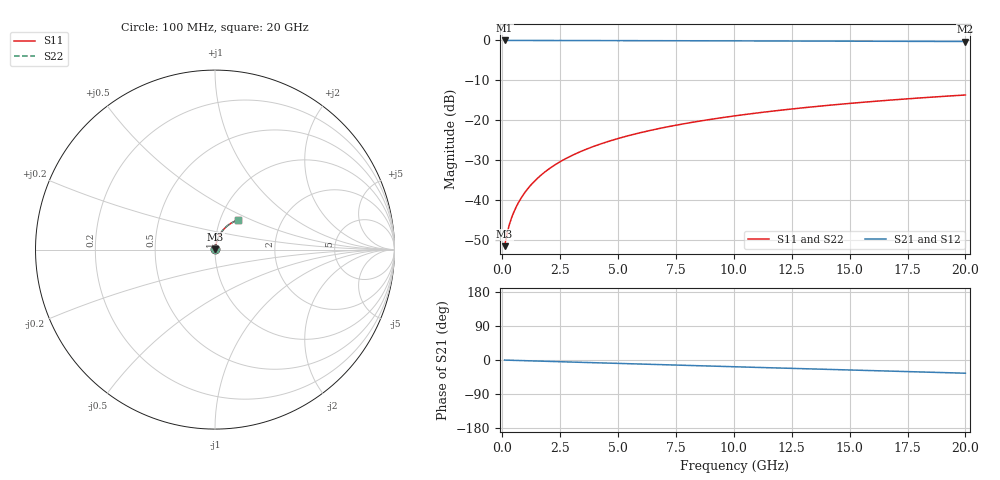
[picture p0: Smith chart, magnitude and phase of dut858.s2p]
! Touchstone file exported from HFSS 2026.1.0
!  File:  C:/ffzhzh/LocalFiles/Ansys_Project_Files/temp_train_BSMRDL_858_1783170660_22436.aedt
!  Generated:  09:12:13 PM Jul  4, 2026
!  Design:  BSMRDL
!  Project:  temp_train_BSMRDL_858_1783170660_22436
! Variables:
!  h_bsmrdl = 3.6um
!  h_ox = 20um
!  h_rdl = 5um
!  h_sub = 80um
!  h_tmrdl = 5um
!  h_tsv = 80um
!  h_via = 3um
!  l_bsmrdl = 559.49um
!  l_sub = 959.49um
!  l_tmrdl = 200um
!  m_sub = 200um
!  pitch = 43.72um
!  r_tsv = 6um
!  s_tmrdl = 10um
!  w_bsmrdl = 29.43um
!  w_sub = 500um
!  w_tmrdl = 12um
!  x_tsv_center1 = 206um
!  x_tsv_center2 = 794.92um
!  x_tsv_center3 = 1006.92um
!  x_tsv_center4 = 1595.84um
!  x_tsv_center5 = 1807.84um
!  x_tsv_center6 = 2396.76um
# GHz S MA R 50.000000
! Terminal data exported
! Port[1] = BSM_RDL1_1_T1
! Port[2] = BSM_RDL1_1_T2
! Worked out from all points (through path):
!   200 points, 100 MHz to 20 GHz, reference 50 ohm
!   highest |S21| = -0.02 dB at 100 MHz (marker M1); lowest = -0.3 dB at 20 GHz (marker M2)
!   group delay of S21, straight-line fit = 4.83 ps
!   lowest |S11| = -51.6 dB at 100 MHz (marker M3), VSWR 1.01, Z = 50.2 + j0.15 ohm
!   |S11| at or under -10 dB: start of sweep to end of sweep
!   |S22| runs from -51.6 to -13.7 dB; largest |S21 - S12| = 4.7e-15
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0.1  0.002628 34.6  0.9978 -0.2  0.9978 -0.2  0.002628 34.6
! Gamma 0 0 0 0
! Port Impedance 50 0 50 0
0.2  0.003718 50.1  0.9976 -0.4  0.9976 -0.4  0.003718 50.1
0.3  0.004849 57.5  0.9974 -0.6  0.9974 -0.6  0.004849 57.5
0.4  0.005956 62.1  0.9973 -0.8  0.9973 -0.8  0.005955 62.1
0.5  0.007053 65.4  0.9972 -0.9  0.9972 -0.9  0.007052 65.4
0.6  0.008153 68.0  0.9971 -1.1  0.9971 -1.1  0.008153 68.0
0.8  0.01038 71.6  0.997 -1.5  0.997 -1.5  0.01038 71.6
1.1  0.0138 74.9  0.9968 -2.0  0.9968 -2.0  0.0138 74.9
1.3  0.01611 76.2  0.9967 -2.4  0.9967 -2.4  0.01611 76.2
1.6  0.0196 77.4  0.9965 -2.9  0.9965 -2.9  0.0196 77.4
2.1  0.02544 78.4  0.9962 -3.8  0.9962 -3.8  0.02544 78.4
2.7  0.03244 78.5  0.9958 -4.9  0.9958 -4.9  0.03244 78.6
3.5  0.04172 78.1  0.9951 -6.3  0.9951 -6.3  0.04172 78.1
4.2  0.04976 77.3  0.9943 -7.6  0.9943 -7.6  0.04976 77.3
5  0.05882 76.2  0.9934 -9.0  0.9934 -9.0  0.05882 76.2
5.9  0.06887 74.9  0.9922 -10.6  0.9922 -10.6  0.06887 74.9
6.8  0.07876 73.5  0.991 -12.2  0.991 -12.2  0.07876 73.5
8.3  0.09491 71.1  0.9888 -14.8  0.9888 -14.8  0.0949 71.2
10.1  0.1137 68.3  0.986 -18.0  0.986 -18.0  0.1137 68.3
13.4  0.1468 62.9  0.9805 -23.7  0.9805 -23.7  0.1468 63.0
16.7  0.1779 57.6  0.9744 -29.3  0.9744 -29.3  0.1778 57.7
20  0.2067 52.3  0.9681 -34.9  0.9681 -34.9  0.2067 52.4
